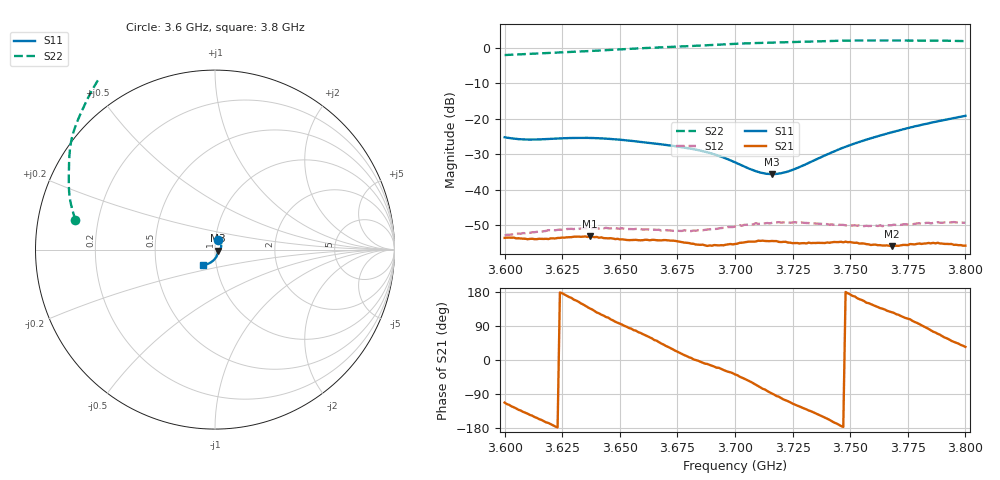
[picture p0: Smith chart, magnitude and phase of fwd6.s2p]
#  HZ  S  DB  R  50.00
! Rohde & Schwarz ZVB8 2Ports - Version 3.70 - 1145.1010k08 SN: 100925
! Date: 2017-03-03 16:14:19
! Measurements: S11 S21 S12 S22
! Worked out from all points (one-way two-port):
!   201 points, 3.6 GHz to 3.8 GHz, reference 50 ohm
!   highest |S21| = -53.12 dB at 3.637 GHz (marker M1); lowest = -55.9 dB at 3.768 GHz (marker M2)
!   lowest |S11| = -35.5 dB at 3.716 GHz (marker M3), VSWR 1.03, Z = 51.6 - j0.678 ohm
!   |S11| at or under -10 dB: start of sweep to end of sweep
!   |S22| runs from -2.0 to 2.1 dB; largest |S21 - S12| = 0.0019
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3.6e9  -25.17 71.6  -53.55 -112.4  -52.85 -84.6  -1.99 168.0
3.611e9  -25.82 79.2  -53.82 -145.0  -52.10 -116.0  -1.63 163.9
3.619e9  -25.67 81.2  -53.88 -166.1  -51.36 -141.0  -1.38 161.1
3.634e9  -25.34 73.5  -53.21 146.9  -50.82 170.4  -0.95 155.3
3.637e9  -25.36 70.7  -53.12 136.0  -50.82 160.6  -0.85 154.0
3.654e9  -26.10 52.2  -54.18 84.3  -51.05 105.8  -0.24 146.4
3.667e9  -27.08 39.6  -54.22 47.0  -51.25 67.2  0.17 141.0
3.674e9  -27.67 32.7  -54.39 24.7  -51.52 49.0  0.36 137.9
3.686e9  -29.08 18.9  -55.46 -7.0  -51.39 16.8  0.73 131.7
3.688e9  -29.41 16.1  -55.81 -10.5  -51.18 12.3  0.80 130.6
3.7e9  -32.22 -1.7  -55.27 -38.0  -50.34 -22.8  1.18 124.8
3.708e9  -34.50 -12.6  -54.58 -61.6  -49.74 -47.3  1.38 121.2
3.709e9  -34.73 -13.9  -54.58 -65.0  -49.38 -50.8  1.40 120.7
3.716e9  -35.55 -23.2  -54.42 -88.3  -49.32 -74.0  1.53 117.4
3.723e9  -34.83 -35.1  -54.86 -108.7  -49.20 -98.6  1.65 113.6
3.734e9  -31.78 -56.5  -54.97 -138.0  -49.42 -134.1  1.87 107.2
3.748e9  -27.85 -78.8  -54.61 179.5  -50.01 -177.3  2.08 99.8
3.759e9  -25.44 -92.2  -55.55 147.3  -50.17 151.0  2.13 93.9
3.767e9  -23.95 -100.2  -55.78 128.0  -50.00 128.6  2.13 89.0
3.768e9  -23.77 -101.2  -55.88 125.8  -49.99 126.5  2.13 88.3
3.788e9  -20.67 -118.4  -54.92 69.1  -49.11 63.8  2.09 76.4
3.8e9  -19.13 -127.0  -55.74 34.6  -49.26 24.9  1.93 69.8
